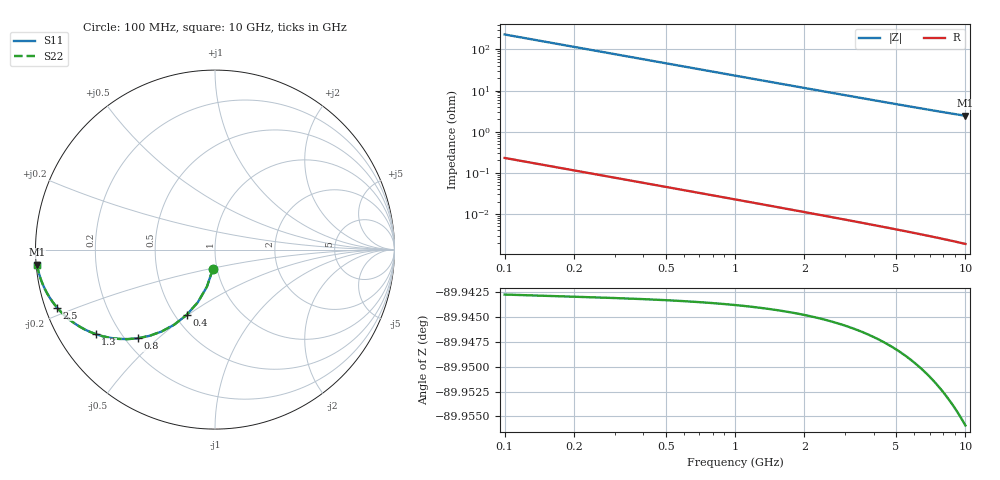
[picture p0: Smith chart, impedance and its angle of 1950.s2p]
# Hz S RI R 50.00
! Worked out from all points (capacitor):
!   100 points, 100 MHz to 10 GHz, reference 50 ohm
!   read as one part in shunt: C = 6.9 pF near 100 MHz
!   lowest |Z| = 2.44 ohm at 10 GHz (marker M1)
!   S11 on the Smith chart (normalised r, x): 100 MHz: 0.95, -0.21; 400 MHz: 0.57, -0.49; 800 MHz: 0.25, -0.43; 1.3 GHz: 0.11, -0.31; 2.5 GHz: 0.03, -0.18; 10 GHz: 0.00, -0.04
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1e8  -0.0117 -0.1071  0.9883 -0.1072  0.9883 -0.1072  -0.0117 -0.1071
2e8  -0.0451 -0.2069  0.9549 -0.2071  0.9549 -0.2071  -0.0451 -0.2069
3e8  -0.0959 -0.2937  0.9041 -0.2941  0.9041 -0.2941  -0.0959 -0.2937
4e8  -0.1585 -0.3645  0.8415 -0.3649  0.8415 -0.3649  -0.1585 -0.3645
5e8  -0.2272 -0.4183  0.7727 -0.4189  0.7727 -0.4189  -0.2272 -0.4183
6e8  -0.2974 -0.4562  0.7026 -0.457  0.7026 -0.457  -0.2974 -0.4562
7e8  -0.3654 -0.4806  0.6345 -0.4815  0.6345 -0.4815  -0.3654 -0.4806
8e8  -0.4292 -0.494  0.5708 -0.495  0.5708 -0.495  -0.4292 -0.494
1e9  -0.54 -0.4973  0.4599 -0.4985  0.4599 -0.4985  -0.54 -0.4973
1.1e9  -0.5868 -0.4912  0.4131 -0.4926  0.4131 -0.4926  -0.5868 -0.4912
1.3e9  -0.6647 -0.4708  0.3352 -0.4724  0.3352 -0.4724  -0.6647 -0.4708
1.5e9  -0.7251 -0.445  0.2748 -0.4469  0.2748 -0.4469  -0.7251 -0.445
1.8e9  -0.7915 -0.4046  0.2084 -0.4068  0.2084 -0.4068  -0.7915 -0.4046
2.1e9  -0.8378 -0.3668  0.1622 -0.3694  0.1622 -0.3694  -0.8378 -0.3668
2.5e9  -0.8797 -0.3232  0.1202 -0.3263  0.1202 -0.3263  -0.8797 -0.3232
2.9e9  -0.9077 -0.2871  0.0922 -0.2907  0.0922 -0.2907  -0.9077 -0.2871
3.4e9  -0.9311 -0.2506  0.0689 -0.2548  0.0689 -0.2548  -0.9311 -0.2506
4.2e9  -0.9537 -0.2069  0.0462 -0.2121  0.0462 -0.2121  -0.9537 -0.2069
5.1e9  -0.9681 -0.1718  0.0318 -0.1782  0.0318 -0.1782  -0.9681 -0.1718
6.7e9  -0.9813 -0.1305  0.0186 -0.1389  0.0186 -0.1389  -0.9813 -0.1305
8.4e9  -0.9881 -0.1024  0.0118 -0.113  0.0118 -0.113  -0.9881 -0.1024
1e10  -0.9916 -0.0839  0.00825 -0.0967  0.00825 -0.0967  -0.9916 -0.0839
